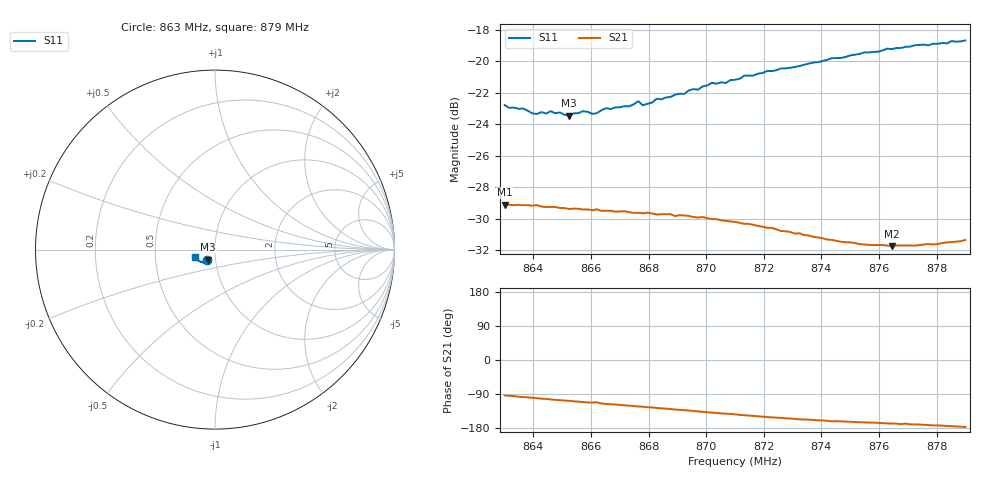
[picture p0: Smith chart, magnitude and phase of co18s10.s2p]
# HZ S RI R 50
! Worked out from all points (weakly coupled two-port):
!   101 points, 863 MHz to 879 MHz, reference 50 ohm
!   highest |S21| = -29.10 dB at 863 MHz (marker M1); lowest = -31.8 dB at 876.44 MHz (marker M2)
!   lowest |S11| = -23.5 dB at 865.24 MHz (marker M3), VSWR 1.14, Z = 46.1 - j5.17 ohm
!   |S11| at or under -10 dB: start of sweep to end of sweep
!   S12 and S22 are empty: the file has one direction only
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8.63e8  -0.0462 -0.0561  -0.00213 -0.035  0 0  0 0
8.6316e8  -0.0458 -0.0544  -0.00274 -0.0349  0 0  0 0
8.6364e8  -0.0438 -0.0557  -0.00464 -0.0346  0 0  0 0
8.6396e8  -0.0408 -0.0548  -0.00585 -0.0343  0 0  0 0
8.646e8  -0.0399 -0.0568  -0.00832 -0.0334  0 0  0 0
8.6524e8  -0.0374 -0.0558  -0.0103 -0.0323  0 0  0 0
8.6572e8  -0.0371 -0.0587  -0.0121 -0.0315  0 0  0 0
8.662e8  -0.0351 -0.0587  -0.0124 -0.0315  0 0  0 0
8.6652e8  -0.0364 -0.061  -0.0146 -0.0301  0 0  0 0
8.6732e8  -0.0366 -0.0619  -0.0168 -0.0286  0 0  0 0
8.6764e8  -0.038 -0.0643  -0.0178 -0.0278  0 0  0 0
8.678e8  -0.0371 -0.0623  -0.0181 -0.0275  0 0  0 0
8.6828e8  -0.0383 -0.0657  -0.0193 -0.0262  0 0  0 0
8.6844e8  -0.0386 -0.0652  -0.0199 -0.0259  0 0  0 0
8.6972e8  -0.0423 -0.0694  -0.0228 -0.0223  0 0  0 0
8.702e8  -0.0471 -0.0713  -0.0238 -0.0207  0 0  0 0
8.7068e8  -0.0478 -0.0707  -0.0244 -0.0192  0 0  0 0
8.71e8  -0.0496 -0.0719  -0.0248 -0.0184  0 0  0 0
8.7132e8  -0.0529 -0.0728  -0.0252 -0.0171  0 0  0 0
8.7372e8  -0.0684 -0.0718  -0.0257 -0.0102  0 0  0 0
8.7644e8  -0.0914 -0.0601  -0.0253 -0.00547  0 0  0 0
8.79e8  -0.11 -0.0385  -0.027 -0.00152  0 0  0 0
